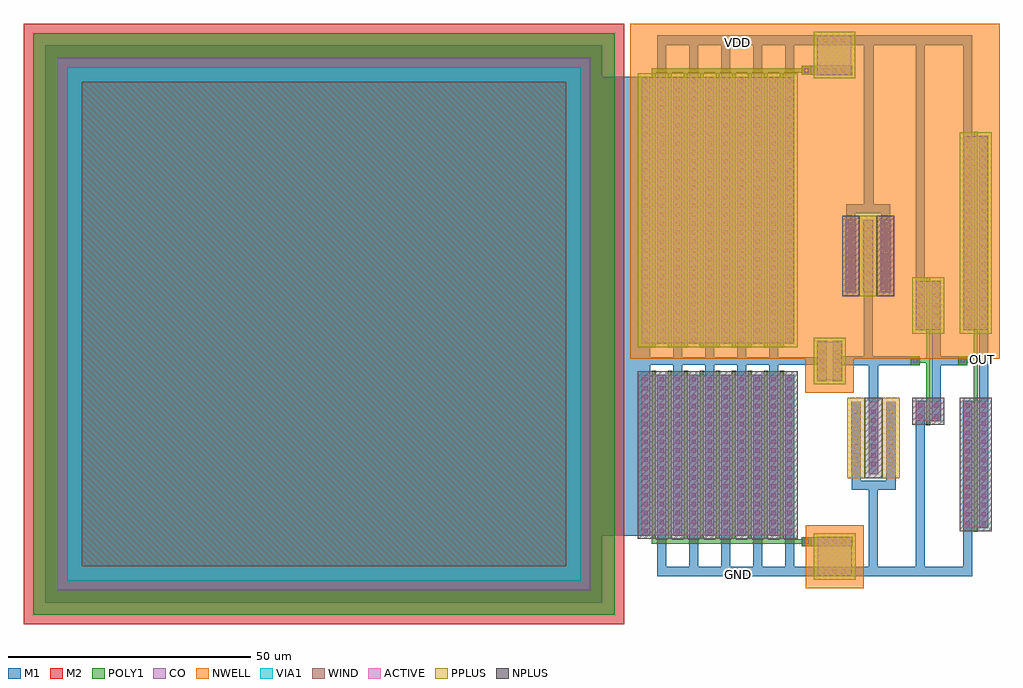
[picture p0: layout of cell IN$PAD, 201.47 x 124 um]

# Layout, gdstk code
from math import pi, radians
import gdstk
lib = gdstk.Library(unit=1e-6, precision=1e-08)
def R(c, l, rs):  # rectangles x0, y0, x1, y1
    for r in rs: c.add(gdstk.rectangle(r[:2], r[2:], *l))
def A(c, l, x, y, w, h, nx, ny, dx, dy):  # array of equal rectangles
    R(c, l, [(x+i*dx, y+j*dy, x+i*dx+w, y+j*dy+h) for i in range(nx) for j in range(ny)])
ACTIVE = (10, 0)
NWELL = (20, 0)
NPLUS = (25, 0)
PPLUS = (26, 0)
POLY1 = (30, 0)
CO = (35, 0)
M1 = (40, 0)
VIA1 = (41, 0)
M2 = (42, 0)
WIND = (65, 0)

pad = lib.new_cell('PAD')
R(pad, POLY1, [(-60,-60,60,60)])
R(pad, CO, [(-55,-55,55,55)])
R(pad, M1, [(-57.5,-57.5,57.5,57.5)])
R(pad, VIA1, [(-53,-53,53,53)])
R(pad, M2, [(-62,-62,62,62)])
R(pad, WIND, [(-50,-50,50,50)])

pmos_2 = lib.new_cell('pMOS$2')
R(pmos_2, ACTIVE, [(-2.5,-27.5,-0.8,27.5), (-1.4,-27.5,1.4,27.5), (0.8,-27.5,2.5,27.5)])
R(pmos_2, NWELL, [(-4.9,-29.9,4.9,29.9)])
R(pmos_2, PPLUS, [(-3.3,-28.3,3.3,28.3)])
R(pmos_2, POLY1, [(-0.4,-28.4,0.4,28.4)])
A(pmos_2, CO, -2.1, -27.1, 0.9, 0.9, 1, 3, 0, 1.84)
A(pmos_2, CO, 1.2, -27.1, 0.9, 0.9, 1, 3, 0, 1.84)
A(pmos_2, CO, -2.1, -21.59, 0.9, 0.9, 1, 5, 0, 1.84)
A(pmos_2, CO, 1.2, -21.59, 0.9, 0.9, 1, 5, 0, 1.84)
A(pmos_2, CO, -2.1, -12.4, 0.9, 0.9, 1, 4, 0, 1.84)
A(pmos_2, CO, 1.2, -12.4, 0.9, 0.9, 1, 4, 0, 1.84)
A(pmos_2, CO, -2.1, -5.05, 0.9, 0.9, 1, 6, 0, 1.84)
A(pmos_2, CO, 1.2, -5.05, 0.9, 0.9, 1, 6, 0, 1.84)
A(pmos_2, CO, -2.1, 5.98, 0.9, 0.9, 1, 4, 0, 1.84)
A(pmos_2, CO, 1.2, 5.98, 0.9, 0.9, 1, 4, 0, 1.84)
A(pmos_2, CO, -2.1, 13.33, 0.9, 0.9, 1, 5, 0, 1.84)
A(pmos_2, CO, 1.2, 13.33, 0.9, 0.9, 1, 5, 0, 1.84)
A(pmos_2, CO, -2.1, 22.52, 0.9, 0.9, 1, 3, 0, 1.84)
A(pmos_2, CO, 1.2, 22.52, 0.9, 0.9, 1, 3, 0, 1.84)
R(pmos_2, M1, [(-2.6,-27.6,-0.7,27.6), (0.7,-27.6,2.6,27.6)])

nmos = lib.new_cell('nMOS')
R(nmos, ACTIVE, [(-2.5,-16.5,-0.8,16.5), (-1.4,-16.5,1.4,16.5), (0.8,-16.5,2.5,16.5)])
R(nmos, NPLUS, [(-3.3,-17.3,3.3,17.3)])
R(nmos, POLY1, [(-0.4,-17.4,0.4,17.4)])
A(nmos, CO, -2.1, -16.1, 0.9, 0.9, 1, 5, 0, 1.84)
A(nmos, CO, 1.2, -16.1, 0.9, 0.9, 1, 5, 0, 1.84)
A(nmos, CO, -2.1, -6.89, 0.9, 0.9, 1, 8, 0, 1.84)
A(nmos, CO, 1.2, -6.89, 0.9, 0.9, 1, 8, 0, 1.84)
A(nmos, CO, -2.1, 7.84, 0.9, 0.9, 1, 5, 0, 1.84)
A(nmos, CO, 1.2, 7.84, 0.9, 0.9, 1, 5, 0, 1.84)
R(nmos, M1, [(-2.6,-16.6,-0.7,16.6), (0.7,-16.6,2.6,16.6)])

resistor_1 = lib.new_cell('RESISTOR$1')
R(resistor_1, ACTIVE, [(-3.5,-4,3.5,4)])
R(resistor_1, NWELL, [(-6,-6.5,6,6.5)])
R(resistor_1, PPLUS, [(-4.3,-4.8,4.3,4.8)])
A(resistor_1, CO, -2.25, -3.55, 0.9, 0.9, 3, 2, 1.8, 6.2)
R(resistor_1, M1, [(-3.7,-4.1,3.7,-2.1), (-3.7,2.1,3.7,4.1)])

resistor_2 = lib.new_cell('RESISTOR$2')
R(resistor_2, ACTIVE, [(-4,-2.5,4,2.5)])
R(resistor_2, NWELL, [(-6.5,-5,6.5,5)])
R(resistor_2, PPLUS, [(-4.8,-3.3,4.8,3.3)])
A(resistor_2, CO, -2.25, -2.05, 0.9, 0.9, 3, 2, 1.8, 3.2)
R(resistor_2, M1, [(-4.2,-2.6,4.2,-0.6), (-4.2,0.6,4.2,2.6)])

contactpoly1 = lib.new_cell('ContactPoly1')
R(contactpoly1, POLY1, [(-0.95,-0.95,0.95,0.95)])
R(contactpoly1, CO, [(-0.45,-0.45,0.45,0.45)])
R(contactpoly1, M1, [(-0.95,-0.95,0.95,0.95)])

pmos_3 = lib.new_cell('pMOS$3')
R(pmos_3, ACTIVE, [(-2.5,-5,-0.8,5), (-1.4,-5,1.4,5), (0.8,-5,2.5,5)])
R(pmos_3, NWELL, [(-4.9,-7.4,4.9,7.4)])
R(pmos_3, PPLUS, [(-3.3,-5.8,3.3,5.8)])
R(pmos_3, POLY1, [(-0.4,-5.9,0.4,5.9)])
A(pmos_3, CO, -2.1, -2.53, 0.9, 0.9, 1, 3, 0, 2.08)
A(pmos_3, CO, 1.2, -2.53, 0.9, 0.9, 1, 3, 0, 2.08)
R(pmos_3, CO, [(-2.1,-4.6,-1.2,-3.7), (1.2,-4.6,2.1,-3.7), (-2.1,3.7,-1.2,4.6), (1.2,3.7,2.1,4.6)])
R(pmos_3, M1, [(-2.6,-5.1,-0.7,5.1), (0.7,-5.1,2.6,5.1)])

nmos_2 = lib.new_cell('nMOS$2')
R(nmos_2, ACTIVE, [(-2.5,-2,-0.8,2), (-1.4,-2,1.4,2), (0.8,-2,2.5,2)])
R(nmos_2, NPLUS, [(-3.3,-2.8,3.3,2.8)])
R(nmos_2, POLY1, [(-0.4,-2.9,0.4,2.9)])
R(nmos_2, CO, [(-2.1,-1.6,-1.2,-0.7), (1.2,-1.6,2.1,-0.7), (-2.1,0.7,-1.2,1.6), (1.2,0.7,2.1,1.6)])
R(nmos_2, M1, [(-2.6,-2.1,-0.7,2.1), (0.7,-2.1,2.6,2.1)])

pmos_4 = lib.new_cell('pMOS$4')
R(pmos_4, ACTIVE, [(-2.5,-20,-0.8,20), (-1.4,-20,1.4,20), (0.8,-20,2.5,20)])
R(pmos_4, NWELL, [(-4.9,-22.4,4.9,22.4)])
R(pmos_4, PPLUS, [(-3.3,-20.8,3.3,20.8)])
R(pmos_4, POLY1, [(-0.4,-20.9,0.4,20.9)])
A(pmos_4, CO, -2.1, -15.95, 0.9, 0.9, 1, 3, 0, 1.82)
A(pmos_4, CO, 1.2, -15.95, 0.9, 0.9, 1, 3, 0, 1.82)
A(pmos_4, CO, -2.1, -6.83, 0.9, 0.9, 1, 3, 0, 1.82)
A(pmos_4, CO, 1.2, -6.83, 0.9, 0.9, 1, 3, 0, 1.82)
A(pmos_4, CO, -2.1, 2.29, 0.9, 0.9, 1, 3, 0, 1.82)
A(pmos_4, CO, 1.2, 2.29, 0.9, 0.9, 1, 3, 0, 1.82)
A(pmos_4, CO, -2.1, 11.41, 0.9, 0.9, 1, 3, 0, 1.82)
A(pmos_4, CO, 1.2, 11.41, 0.9, 0.9, 1, 3, 0, 1.82)
R(pmos_4, CO, [(-2.1,-19.6,-1.2,-18.7), (1.2,-19.6,2.1,-18.7), (-2.1,-17.78,-1.2,-16.88), (1.2,-17.78,2.1,-16.88), (-2.1,-10.48,-1.2,-9.58), (1.2,-10.48,2.1,-9.58), (-2.1,-8.66,-1.2,-7.76), (1.2,-8.66,2.1,-7.76), (-2.1,-1.36,-1.2,-0.46), (1.2,-1.36,2.1,-0.46), (-2.1,0.46,-1.2,1.36), (1.2,0.46,2.1,1.36), (-2.1,7.76,-1.2,8.66), (1.2,7.76,2.1,8.66), (-2.1,9.58,-1.2,10.48), (1.2,9.58,2.1,10.48), (-2.1,16.88,-1.2,17.78), (1.2,16.88,2.1,17.78), (-2.1,18.7,-1.2,19.6), (1.2,18.7,2.1,19.6)])
R(pmos_4, M1, [(-2.6,-20.1,-0.7,20.1), (0.7,-20.1,2.6,20.1)])

nmos_4 = lib.new_cell('nMOS$4')
R(nmos_4, ACTIVE, [(-2.5,-13,-0.8,13), (-1.4,-13,1.4,13), (0.8,-13,2.5,13)])
R(nmos_4, NPLUS, [(-3.3,-13.8,3.3,13.8)])
R(nmos_4, POLY1, [(-0.4,-13.9,0.4,13.9)])
A(nmos_4, CO, -2.1, -12.6, 0.9, 0.9, 1, 6, 0, 1.87)
A(nmos_4, CO, 1.2, -12.6, 0.9, 0.9, 1, 6, 0, 1.87)
A(nmos_4, CO, -2.1, 2.35, 0.9, 0.9, 1, 6, 0, 1.87)
A(nmos_4, CO, 1.2, 2.35, 0.9, 0.9, 1, 6, 0, 1.87)
R(nmos_4, CO, [(-2.1,-1.39,-1.2,-0.49), (1.2,-1.39,2.1,-0.49), (-2.1,0.49,-1.2,1.39), (1.2,0.49,2.1,1.39)])
R(nmos_4, M1, [(-2.6,-13.1,-0.7,13.1), (0.7,-13.1,2.6,13.1)])

diode_2 = lib.new_cell('DIODE$2')
A(diode_2, ACTIVE, -4.6, -7.5, 2, 15, 3, 1, 3.6, 0)
R(diode_2, NPLUS, [(-1.8,-8.3,1.8,8.3)])
R(diode_2, PPLUS, [(-5.4,-8.3,-1.8,8.3), (1.8,-8.3,5.4,8.3)])
A(diode_2, CO, -4.05, -5.85, 0.9, 0.9, 3, 7, 3.6, 1.8)
R(diode_2, M1, [(-4.55,-10.7,-2.65,7.5), (-4.55,-10.7,4.55,-8.8), (2.65,-10.7,4.55,7.5), (-0.95,-7.5,0.95,7.5)])

diode_3 = lib.new_cell('DIODE$3')
A(diode_3, ACTIVE, -4.6, -7.5, 2, 15, 3, 1, 3.6, 0)
R(diode_3, NWELL, [(-7.5,-10,7.5,10)])
R(diode_3, NPLUS, [(-5.4,-8.3,-1.8,8.3), (1.8,-8.3,5.4,8.3)])
R(diode_3, PPLUS, [(-1.8,-8.3,1.8,8.3)])
A(diode_3, CO, -4.05, -5.85, 0.9, 0.9, 3, 7, 3.6, 1.8)
R(diode_3, M1, [(-4.55,-10.7,-2.65,7.5), (-4.55,-10.7,4.55,-8.8), (2.65,-10.7,4.55,7.5), (-0.95,-7.5,0.95,7.5)])

in_pad = lib.new_cell('IN$PAD')
R(in_pad, NWELL, [(35.07,-9.45,83.27,59.74), (83.27,-9.45,111.34,59.74)])
A(in_pad, POLY1, 39.57, -47.65, 0.8, 1.85, 9, 2, 3.3, 96.39)
R(in_pad, POLY1, [(39.57,-47.65,66.77,-46.7), (65.97,-47.65,71.97,-46.7), (96.24,-18.22,97.04,-3.44), (106.04,-18.22,106.84,-3.44), (93.51,-10.25,97.04,-9.35), (103.31,-10.25,106.84,-9.35), (39.57,49.64,66.77,50.59), (65.97,49.64,71.97,50.59)])
A(in_pad, M1, 40.67, -54.35, 1.9, 10.35, 5, 2, 6.6, 101.34)
R(in_pad, M1, [(40.67,-54.35,74.87,-52.35), (79.76,-54.35,105.74,-52.35), (84.4,-54.35,86.19,-34.55), (94.04,-54.35,95.94,-20.52), (103.84,-54.35,105.74,-42.48), (70.54,-48.12,75.03,-46.22), (26.87,-45.9,39.27,48.84), (97.34,-19.94,99.24,-1.85), (107.14,-19.83,109.04,-1.75), (84.39,-19.4,86.29,-8.85), (50.57,-14.54,52.47,-4.59), (57.17,-14.5,59.07,-4.54), (43.97,-14.46,45.87,-4.51), (63.77,-14.46,65.67,-4.5), (63.77,-14.46,65.67,-4.5), (76.87,-10.75,94.91,-8.85), (83.29,-10.75,85.19,5.73), (97.34,-10.75,104.71,-8.85), (37.37,-10.63,75.67,-9.07), (94.04,4.86,95.94,57.34), (83.29,20.62,85.34,57.34), (103.84,35,105.74,57.34), (70.54,49.17,75.03,51.07), (40.67,55.34,74.87,57.34), (79.76,55.34,105.74,57.34)])
in_pad.add(gdstk.Reference(pad, (-28.13,-2.24), rotation=pi/2))
in_pad.add(gdstk.Reference(pmos_2, (39.97,21.24)))
in_pad.add(gdstk.Reference(pmos_2, (43.27,21.24)))
in_pad.add(gdstk.Reference(pmos_2, (46.57,21.24)))
in_pad.add(gdstk.Reference(pmos_2, (49.87,21.24)))
in_pad.add(gdstk.Reference(pmos_2, (53.17,21.24)))
in_pad.add(gdstk.Reference(pmos_2, (56.47,21.24)))
in_pad.add(gdstk.Reference(pmos_2, (59.77,21.24)))
in_pad.add(gdstk.Reference(pmos_2, (63.07,21.24)))
in_pad.add(gdstk.Reference(pmos_2, (66.37,21.24)))
in_pad.add(gdstk.Reference(nmos, (39.97,-29.3)))
in_pad.add(gdstk.Reference(nmos, (43.27,-29.3)))
in_pad.add(gdstk.Reference(nmos, (46.57,-29.3)))
in_pad.add(gdstk.Reference(nmos, (49.87,-29.3)))
in_pad.add(gdstk.Reference(nmos, (53.17,-29.3)))
in_pad.add(gdstk.Reference(nmos, (56.47,-29.3)))
in_pad.add(gdstk.Reference(nmos, (59.77,-29.3)))
in_pad.add(gdstk.Reference(nmos, (63.07,-29.3)))
in_pad.add(gdstk.Reference(nmos, (66.37,-29.3)))
in_pad.add(gdstk.Reference(resistor_1, (77.32,-50.25)))
in_pad.add(gdstk.Reference(resistor_1, (77.27,53.24)))
in_pad.add(gdstk.Reference(resistor_2, (76.27,-9.89), rotation=pi/2))
in_pad.add(gdstk.Reference(contactpoly1, (71.49,-47.17), rotation=pi/2))
in_pad.add(gdstk.Reference(contactpoly1, (71.49,50.12), rotation=pi/2))
in_pad.add(gdstk.Reference(pmos_3, (96.64,1.56)))
in_pad.add(gdstk.Reference(nmos_2, (96.64,-20.22)))
in_pad.add(gdstk.Reference(pmos_4, (106.44,16.56)))
in_pad.add(gdstk.Reference(nmos_4, (106.44,-31.22)))
in_pad.add(gdstk.Reference(contactpoly1, (93.96,-9.8), rotation=pi/2))
in_pad.add(gdstk.Reference(contactpoly1, (103.76,-9.8), rotation=pi/2))
in_pad.add(gdstk.Reference(diode_2, (85.34,-25.75)))
in_pad.add(gdstk.Reference(diode_3, (84.24,11.81), rotation=pi))
in_pad.add(gdstk.Label('GND', (57.55,-53.87), layer=40, texttype=0))
in_pad.add(gdstk.Label('VDD', (57.34,55.92), layer=40, texttype=0))
in_pad.add(gdstk.Label('OUT', (107.93,-9.55), layer=40, texttype=0))

lib.write_gds('IN_PAD.gds')
